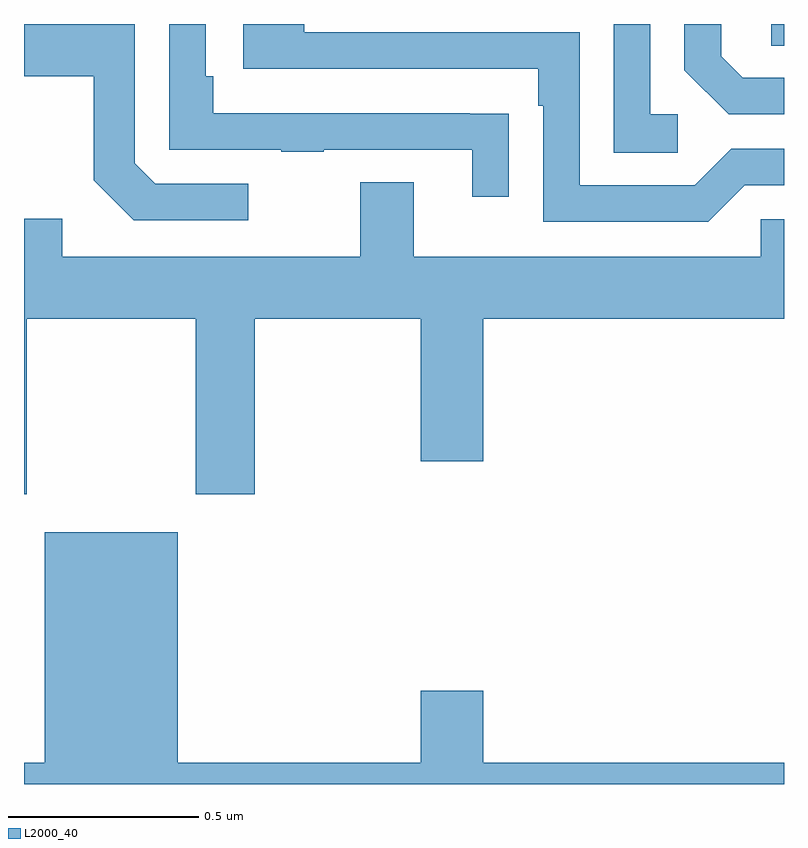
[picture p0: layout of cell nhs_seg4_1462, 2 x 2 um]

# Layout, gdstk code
import gdstk
lib = gdstk.Library(unit=1e-6, precision=1e-09)
def R(c, l, rs):  # rectangles x0, y0, x1, y1
    for r in rs: c.add(gdstk.rectangle(r[:2], r[2:], *l))
def P(c, l, *ps):  # polygons
    for p in ps: c.add(gdstk.Polygon(p, *l))
L2000_40 = (2000, 40)

nhs_seg4_1462 = lib.new_cell('nhs_seg4_1462')
R(nhs_seg4_1462, L2000_40, [(129.966,826.843,130,826.9)])
P(nhs_seg4_1462, L2000_40, [(130,826.758),(129.892,826.758),(129.835,826.815),(129.835,826.9),(129.738,826.9),(129.738,826.778),(129.854,826.662),(130,826.662)],
  [(129.897,826.476),(130,826.476),(130,826.572),(129.861,826.572),(129.765,826.476),(129.462,826.476),(129.462,826.878),(128.738,826.878),(128.738,826.9),(128.577,826.9),(128.577,826.782),(129.353,826.782),(129.353,826.685),(129.366,826.685),(129.366,826.38),(129.801,826.38)],
  [(128.59,826.479),(128.346,826.479),(128.292,826.533),(128.292,826.9),(128,826.9),(128,826.762),(128.184,826.762),(128.184,826.489),(128.289,826.383),(128.59,826.383)],
  [(129.721,826.662),(129.648,826.662),(129.648,826.9),(129.552,826.9),(129.552,826.561),(129.721,826.561)],
  [(129.275,826.664),(129.173,826.664),(129.173,826.665),(128.498,826.665),(128.498,826.762),(128.478,826.762),(128.478,826.9),(128.382,826.9),(128.382,826.569),(128.677,826.569),(128.677,826.564),(128.789,826.564),(128.789,826.569),(129.179,826.569),(129.179,826.446),(129.275,826.446)],
  [(128.007,826.124),(128.452,826.124),(128.452,825.663),(128.607,825.663),(128.607,826.124),(129.044,826.124),(129.044,825.75),(129.208,825.75),(129.208,826.124),(130,826.124),(130,826.386),(129.939,826.386),(129.939,826.288),(129.025,826.288),(129.025,826.483),(128.885,826.483),(128.885,826.288),(128.101,826.288),(128.101,826.387),(128,826.387),(128,825.663),(128.007,825.663)],
  [(130,824.956),(129.208,824.956),(129.208,825.145),(129.044,825.145),(129.044,824.956),(128.404,824.956),(128.404,825.562),(128.054,825.562),(128.054,824.956),(128,824.956),(128,824.9),(130,824.9)])

lib.write_gds('nhs_seg4_1462.gds')
